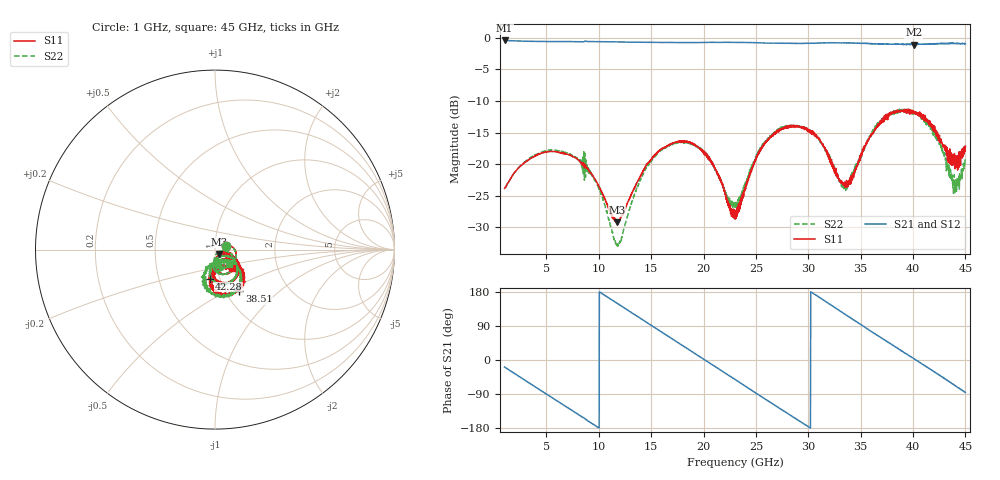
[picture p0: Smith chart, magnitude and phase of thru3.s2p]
!Keysight Technologies,N5247B,MY61255062,A.19.80.06
!Date: Thursday, May 21, 2026 12:23:43
!Correction: S11(Cdelta 2-Port  )
!S21(Cdelta 2-Port  )
!S12(Cdelta 2-Port  )
!S22(Cdelta 2-Port  )
!S2P File: Measurements: S11, S21, S12, S22:
# Hz S  dB  R 50
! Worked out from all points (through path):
!   1601 points, 1 GHz to 45 GHz, reference 50 ohm
!   highest |S21| = -0.46 dB at 1 GHz (marker M1); lowest = -1.1 dB at 40.08 GHz (marker M2)
!   group delay of S21, straight-line fit = 49.6 ps
!   lowest |S11| = -29.2 dB at 11.72 GHz (marker M3), VSWR 1.07, Z = 52.4 - j2.61 ohm
!   |S11| at or under -10 dB: start of sweep to end of sweep
!   |S22| runs from -33.0 to -11.3 dB; largest |S21 - S12| = 0.017
!   S11 on the Smith chart (normalised r, x): 1 GHz: 1.13, +0.05; 38.51 GHz: 1.16, -0.58; 42.28 GHz: 0.89, -0.30; 45 GHz: 1.18, -0.25
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1e9  -23.82 18.2  -0.46 -18.6  -0.46 -18.6  -23.82 17.5
4.74e9  -18.14 -16.7  -0.62 -85.4  -0.63 -85.4  -17.97 -21.0
6.5275e9  -18.24 -39.2  -0.64 -117.0  -0.65 -117.1  -18.10 -47.2
8.3425e9  -19.75 -61.4  -0.66 -149.6  -0.66 -149.6  -20.21 -74.7
1.002e10  -23.59 -75.0  -0.65 -179.7  -0.66 -179.7  -24.01 -91.3
1.1725e10  -29.16 -45.5  -0.69 149.8  -0.70 149.7  -32.58 -54.5
1.38425e10  -22.20 -12.4  -0.72 112.1  -0.73 112.1  -22.91 -9.4
1.5685e10  -18.03 -28.5  -0.76 79.2  -0.77 79.2  -18.20 -29.1
1.9535e10  -17.42 -76.6  -0.78 10.9  -0.79 10.8  -17.28 -80.3
2.11575e10  -20.94 -93.7  -0.76 -18.2  -0.76 -18.3  -20.92 -96.9
2.3e10  -27.78 -53.1  -0.77 -51.3  -0.77 -51.3  -26.13 -57.6
2.6355e10  -15.82 -35.5  -0.87 -111.4  -0.88 -111.5  -15.48 -41.6
2.8445e10  -14.15 -62.2  -0.92 -148.5  -0.91 -148.7  -14.01 -68.6
3.03425e10  -15.30 -84.8  -0.90 178.0  -0.89 177.9  -14.91 -90.9
3.33675e10  -22.93 -71.3  -0.83 123.2  -0.85 123.2  -23.35 -75.5
3.42475e10  -22.26 -36.9  -0.86 107.2  -0.89 107.1  -21.25 -47.4
3.7685e10  -12.26 -50.9  -1.06 45.8  -1.05 45.5  -12.22 -56.6
3.851e10  -11.45 -59.6  -1.08 31.2  -1.08 31.1  -11.49 -67.6
4.00775e10  -11.90 -79.9  -1.13 3.4  -1.14 3.7  -11.80 -90.1
4.22775e10  -15.65 -100.7  -0.99 -35.6  -0.99 -35.9  -15.46 -115.5
4.39275e10  -19.61 -75.1  -0.92 -66.1  -0.96 -65.8  -21.67 -88.9
4.5e10  -17.14 -48.1  -0.99 -85.7  -0.96 -85.7  -19.03 -45.0
